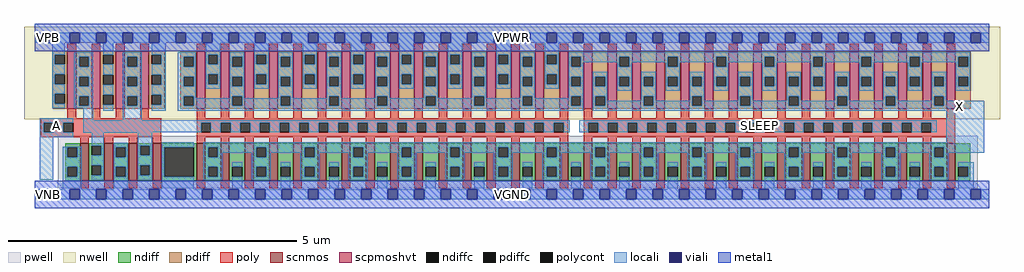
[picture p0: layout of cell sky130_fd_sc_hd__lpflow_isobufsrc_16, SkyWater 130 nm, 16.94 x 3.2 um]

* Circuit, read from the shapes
.subckt sky130_fd_sc_hd__lpflow_isobufsrc_16 A SLEEP VGND VNB VPB VPWR X
XM1 n1 A VGND VNB sky130_fd_pr__nfet_01v8 w=0.65 l=0.15 m=4
XM2 X n1 VGND VNB sky130_fd_pr__nfet_01v8 w=0.65 l=0.15 m=16
XM3 X SLEEP VGND VNB sky130_fd_pr__nfet_01v8 w=0.65 l=0.15 m=16
XM4 n1 A VPWR VPB sky130_fd_pr__pfet_01v8_hvt w=1 l=0.15 m=4
XM5 VPWR n1 n2 VPB sky130_fd_pr__pfet_01v8_hvt w=1 l=0.15 m=16
XM6 X SLEEP n2 VPB sky130_fd_pr__pfet_01v8_hvt w=1 l=0.15 m=16
.ends

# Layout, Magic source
magic
tech sky130B
magscale 1 2
<< nwell >>
rect -38 261 3350 582
<< pwell >>
rect 79 21 3273 203
rect 29 -17 63 17
<< scnmos >>
rect 157 47 187 177
rect 241 47 271 177
rect 325 47 355 177
rect 409 47 439 177
rect 561 47 591 177
rect 645 47 675 177
rect 729 47 759 177
rect 813 47 843 177
rect 897 47 927 177
rect 981 47 1011 177
rect 1065 47 1095 177
rect 1149 47 1179 177
rect 1233 47 1263 177
rect 1317 47 1347 177
rect 1401 47 1431 177
rect 1485 47 1515 177
rect 1569 47 1599 177
rect 1653 47 1683 177
rect 1737 47 1767 177
rect 1821 47 1851 177
rect 1905 47 1935 177
rect 1989 47 2019 177
rect 2073 47 2103 177
rect 2157 47 2187 177
rect 2241 47 2271 177
rect 2325 47 2355 177
rect 2409 47 2439 177
rect 2493 47 2523 177
rect 2577 47 2607 177
rect 2661 47 2691 177
rect 2745 47 2775 177
rect 2829 47 2859 177
rect 2913 47 2943 177
rect 2997 47 3027 177
rect 3081 47 3111 177
rect 3165 47 3195 177
<< scpmoshvt >>
rect 113 297 143 497
rect 197 297 227 497
rect 281 297 311 497
rect 365 297 395 497
rect 561 297 591 497
rect 645 297 675 497
rect 729 297 759 497
rect 813 297 843 497
rect 897 297 927 497
rect 981 297 1011 497
rect 1065 297 1095 497
rect 1149 297 1179 497
rect 1233 297 1263 497
rect 1317 297 1347 497
rect 1401 297 1431 497
rect 1485 297 1515 497
rect 1569 297 1599 497
rect 1653 297 1683 497
rect 1737 297 1767 497
rect 1821 297 1851 497
rect 1905 297 1935 497
rect 1989 297 2019 497
rect 2073 297 2103 497
rect 2157 297 2187 497
rect 2241 297 2271 497
rect 2325 297 2355 497
rect 2409 297 2439 497
rect 2493 297 2523 497
rect 2577 297 2607 497
rect 2661 297 2691 497
rect 2745 297 2775 497
rect 2829 297 2859 497
rect 2913 297 2943 497
rect 2997 297 3027 497
rect 3081 297 3111 497
rect 3165 297 3195 497
<< ndiff >>
rect 105 163 157 177
rect 105 129 113 163
rect 147 129 157 163
rect 105 95 157 129
rect 105 61 113 95
rect 147 61 157 95
rect 105 47 157 61
rect 187 169 241 177
rect 187 135 197 169
rect 231 135 241 169
rect 187 101 241 135
rect 187 67 197 101
rect 231 67 241 101
rect 187 47 241 67
rect 271 163 325 177
rect 271 129 281 163
rect 315 129 325 163
rect 271 95 325 129
rect 271 61 281 95
rect 315 61 325 95
rect 271 47 325 61
rect 355 169 409 177
rect 355 135 365 169
rect 399 135 409 169
rect 355 101 409 135
rect 355 67 365 101
rect 399 67 409 101
rect 355 47 409 67
rect 439 163 561 177
rect 439 61 449 163
rect 551 61 561 163
rect 439 47 561 61
rect 591 163 645 177
rect 591 129 601 163
rect 635 129 645 163
rect 591 95 645 129
rect 591 61 601 95
rect 635 61 645 95
rect 591 47 645 61
rect 675 95 729 177
rect 675 61 685 95
rect 719 61 729 95
rect 675 47 729 61
rect 759 163 813 177
rect 759 129 769 163
rect 803 129 813 163
rect 759 95 813 129
rect 759 61 769 95
rect 803 61 813 95
rect 759 47 813 61
rect 843 95 897 177
rect 843 61 853 95
rect 887 61 897 95
rect 843 47 897 61
rect 927 163 981 177
rect 927 129 937 163
rect 971 129 981 163
rect 927 95 981 129
rect 927 61 937 95
rect 971 61 981 95
rect 927 47 981 61
rect 1011 95 1065 177
rect 1011 61 1021 95
rect 1055 61 1065 95
rect 1011 47 1065 61
rect 1095 163 1149 177
rect 1095 129 1105 163
rect 1139 129 1149 163
rect 1095 95 1149 129
rect 1095 61 1105 95
rect 1139 61 1149 95
rect 1095 47 1149 61
rect 1179 95 1233 177
rect 1179 61 1189 95
rect 1223 61 1233 95
rect 1179 47 1233 61
rect 1263 163 1317 177
rect 1263 129 1273 163
rect 1307 129 1317 163
rect 1263 95 1317 129
rect 1263 61 1273 95
rect 1307 61 1317 95
rect 1263 47 1317 61
rect 1347 95 1401 177
rect 1347 61 1357 95
rect 1391 61 1401 95
rect 1347 47 1401 61
rect 1431 163 1485 177
rect 1431 129 1441 163
rect 1475 129 1485 163
rect 1431 95 1485 129
rect 1431 61 1441 95
rect 1475 61 1485 95
rect 1431 47 1485 61
rect 1515 95 1569 177
rect 1515 61 1525 95
rect 1559 61 1569 95
rect 1515 47 1569 61
rect 1599 163 1653 177
rect 1599 129 1609 163
rect 1643 129 1653 163
rect 1599 95 1653 129
rect 1599 61 1609 95
rect 1643 61 1653 95
rect 1599 47 1653 61
rect 1683 95 1737 177
rect 1683 61 1693 95
rect 1727 61 1737 95
rect 1683 47 1737 61
rect 1767 163 1821 177
rect 1767 129 1777 163
rect 1811 129 1821 163
rect 1767 95 1821 129
rect 1767 61 1777 95
rect 1811 61 1821 95
rect 1767 47 1821 61
rect 1851 95 1905 177
rect 1851 61 1861 95
rect 1895 61 1905 95
rect 1851 47 1905 61
rect 1935 163 1989 177
rect 1935 129 1945 163
rect 1979 129 1989 163
rect 1935 95 1989 129
rect 1935 61 1945 95
rect 1979 61 1989 95
rect 1935 47 1989 61
rect 2019 95 2073 177
rect 2019 61 2029 95
rect 2063 61 2073 95
rect 2019 47 2073 61
rect 2103 163 2157 177
rect 2103 129 2113 163
rect 2147 129 2157 163
rect 2103 95 2157 129
rect 2103 61 2113 95
rect 2147 61 2157 95
rect 2103 47 2157 61
rect 2187 95 2241 177
rect 2187 61 2197 95
rect 2231 61 2241 95
rect 2187 47 2241 61
rect 2271 163 2325 177
rect 2271 129 2281 163
rect 2315 129 2325 163
rect 2271 95 2325 129
rect 2271 61 2281 95
rect 2315 61 2325 95
rect 2271 47 2325 61
rect 2355 95 2409 177
rect 2355 61 2365 95
rect 2399 61 2409 95
rect 2355 47 2409 61
rect 2439 163 2493 177
rect 2439 129 2449 163
rect 2483 129 2493 163
rect 2439 95 2493 129
rect 2439 61 2449 95
rect 2483 61 2493 95
rect 2439 47 2493 61
rect 2523 95 2577 177
rect 2523 61 2533 95
rect 2567 61 2577 95
rect 2523 47 2577 61
rect 2607 163 2661 177
rect 2607 129 2617 163
rect 2651 129 2661 163
rect 2607 95 2661 129
rect 2607 61 2617 95
rect 2651 61 2661 95
rect 2607 47 2661 61
rect 2691 95 2745 177
rect 2691 61 2701 95
rect 2735 61 2745 95
rect 2691 47 2745 61
rect 2775 163 2829 177
rect 2775 129 2785 163
rect 2819 129 2829 163
rect 2775 95 2829 129
rect 2775 61 2785 95
rect 2819 61 2829 95
rect 2775 47 2829 61
rect 2859 95 2913 177
rect 2859 61 2869 95
rect 2903 61 2913 95
rect 2859 47 2913 61
rect 2943 163 2997 177
rect 2943 129 2953 163
rect 2987 129 2997 163
rect 2943 95 2997 129
rect 2943 61 2953 95
rect 2987 61 2997 95
rect 2943 47 2997 61
rect 3027 95 3081 177
rect 3027 61 3037 95
rect 3071 61 3081 95
rect 3027 47 3081 61
rect 3111 163 3165 177
rect 3111 129 3121 163
rect 3155 129 3165 163
rect 3111 95 3165 129
rect 3111 61 3121 95
rect 3155 61 3165 95
rect 3111 47 3165 61
rect 3195 95 3247 177
rect 3195 61 3205 95
rect 3239 61 3247 95
rect 3195 47 3247 61
<< pdiff >>
rect 61 485 113 497
rect 61 451 69 485
rect 103 451 113 485
rect 61 417 113 451
rect 61 383 69 417
rect 103 383 113 417
rect 61 349 113 383
rect 61 315 69 349
rect 103 315 113 349
rect 61 297 113 315
rect 143 477 197 497
rect 143 443 153 477
rect 187 443 197 477
rect 143 409 197 443
rect 143 375 153 409
rect 187 375 197 409
rect 143 341 197 375
rect 143 307 153 341
rect 187 307 197 341
rect 143 297 197 307
rect 227 485 281 497
rect 227 451 237 485
rect 271 451 281 485
rect 227 415 281 451
rect 227 381 237 415
rect 271 381 281 415
rect 227 345 281 381
rect 227 311 237 345
rect 271 311 281 345
rect 227 297 281 311
rect 311 477 365 497
rect 311 443 321 477
rect 355 443 365 477
rect 311 409 365 443
rect 311 375 321 409
rect 355 375 365 409
rect 311 341 365 375
rect 311 307 321 341
rect 355 307 365 341
rect 311 297 365 307
rect 395 485 451 497
rect 395 451 405 485
rect 439 451 451 485
rect 395 415 451 451
rect 395 381 405 415
rect 439 381 451 415
rect 395 345 451 381
rect 395 311 405 345
rect 439 311 451 345
rect 395 297 451 311
rect 505 477 561 497
rect 505 443 517 477
rect 551 443 561 477
rect 505 409 561 443
rect 505 375 517 409
rect 551 375 561 409
rect 505 341 561 375
rect 505 307 517 341
rect 551 307 561 341
rect 505 297 561 307
rect 591 485 645 497
rect 591 451 601 485
rect 635 451 645 485
rect 591 417 645 451
rect 591 383 601 417
rect 635 383 645 417
rect 591 297 645 383
rect 675 477 729 497
rect 675 443 685 477
rect 719 443 729 477
rect 675 409 729 443
rect 675 375 685 409
rect 719 375 729 409
rect 675 341 729 375
rect 675 307 685 341
rect 719 307 729 341
rect 675 297 729 307
rect 759 485 813 497
rect 759 451 769 485
rect 803 451 813 485
rect 759 417 813 451
rect 759 383 769 417
rect 803 383 813 417
rect 759 297 813 383
rect 843 477 897 497
rect 843 443 853 477
rect 887 443 897 477
rect 843 409 897 443
rect 843 375 853 409
rect 887 375 897 409
rect 843 341 897 375
rect 843 307 853 341
rect 887 307 897 341
rect 843 297 897 307
rect 927 485 981 497
rect 927 451 937 485
rect 971 451 981 485
rect 927 417 981 451
rect 927 383 937 417
rect 971 383 981 417
rect 927 297 981 383
rect 1011 477 1065 497
rect 1011 443 1021 477
rect 1055 443 1065 477
rect 1011 409 1065 443
rect 1011 375 1021 409
rect 1055 375 1065 409
rect 1011 341 1065 375
rect 1011 307 1021 341
rect 1055 307 1065 341
rect 1011 297 1065 307
rect 1095 485 1149 497
rect 1095 451 1105 485
rect 1139 451 1149 485
rect 1095 417 1149 451
rect 1095 383 1105 417
rect 1139 383 1149 417
rect 1095 297 1149 383
rect 1179 477 1233 497
rect 1179 443 1189 477
rect 1223 443 1233 477
rect 1179 409 1233 443
rect 1179 375 1189 409
rect 1223 375 1233 409
rect 1179 341 1233 375
rect 1179 307 1189 341
rect 1223 307 1233 341
rect 1179 297 1233 307
rect 1263 485 1317 497
rect 1263 451 1273 485
rect 1307 451 1317 485
rect 1263 417 1317 451
rect 1263 383 1273 417
rect 1307 383 1317 417
rect 1263 297 1317 383
rect 1347 477 1401 497
rect 1347 443 1357 477
rect 1391 443 1401 477
rect 1347 409 1401 443
rect 1347 375 1357 409
rect 1391 375 1401 409
rect 1347 341 1401 375
rect 1347 307 1357 341
rect 1391 307 1401 341
rect 1347 297 1401 307
rect 1431 485 1485 497
rect 1431 451 1441 485
rect 1475 451 1485 485
rect 1431 417 1485 451
rect 1431 383 1441 417
rect 1475 383 1485 417
rect 1431 297 1485 383
rect 1515 477 1569 497
rect 1515 443 1525 477
rect 1559 443 1569 477
rect 1515 409 1569 443
rect 1515 375 1525 409
rect 1559 375 1569 409
rect 1515 341 1569 375
rect 1515 307 1525 341
rect 1559 307 1569 341
rect 1515 297 1569 307
rect 1599 485 1653 497
rect 1599 451 1609 485
rect 1643 451 1653 485
rect 1599 417 1653 451
rect 1599 383 1609 417
rect 1643 383 1653 417
rect 1599 297 1653 383
rect 1683 477 1737 497
rect 1683 443 1693 477
rect 1727 443 1737 477
rect 1683 409 1737 443
rect 1683 375 1693 409
rect 1727 375 1737 409
rect 1683 341 1737 375
rect 1683 307 1693 341
rect 1727 307 1737 341
rect 1683 297 1737 307
rect 1767 485 1821 497
rect 1767 451 1777 485
rect 1811 451 1821 485
rect 1767 417 1821 451
rect 1767 383 1777 417
rect 1811 383 1821 417
rect 1767 297 1821 383
rect 1851 477 1905 497
rect 1851 443 1861 477
rect 1895 443 1905 477
rect 1851 409 1905 443
rect 1851 375 1861 409
rect 1895 375 1905 409
rect 1851 341 1905 375
rect 1851 307 1861 341
rect 1895 307 1905 341
rect 1851 297 1905 307
rect 1935 409 1989 497
rect 1935 375 1945 409
rect 1979 375 1989 409
rect 1935 341 1989 375
rect 1935 307 1945 341
rect 1979 307 1989 341
rect 1935 297 1989 307
rect 2019 477 2073 497
rect 2019 443 2029 477
rect 2063 443 2073 477
rect 2019 409 2073 443
rect 2019 375 2029 409
rect 2063 375 2073 409
rect 2019 297 2073 375
rect 2103 409 2157 497
rect 2103 375 2113 409
rect 2147 375 2157 409
rect 2103 341 2157 375
rect 2103 307 2113 341
rect 2147 307 2157 341
rect 2103 297 2157 307
rect 2187 477 2241 497
rect 2187 443 2197 477
rect 2231 443 2241 477
rect 2187 409 2241 443
rect 2187 375 2197 409
rect 2231 375 2241 409
rect 2187 297 2241 375
rect 2271 409 2325 497
rect 2271 375 2281 409
rect 2315 375 2325 409
rect 2271 341 2325 375
rect 2271 307 2281 341
rect 2315 307 2325 341
rect 2271 297 2325 307
rect 2355 477 2409 497
rect 2355 443 2365 477
rect 2399 443 2409 477
rect 2355 409 2409 443
rect 2355 375 2365 409
rect 2399 375 2409 409
rect 2355 297 2409 375
rect 2439 409 2493 497
rect 2439 375 2449 409
rect 2483 375 2493 409
rect 2439 341 2493 375
rect 2439 307 2449 341
rect 2483 307 2493 341
rect 2439 297 2493 307
rect 2523 477 2577 497
rect 2523 443 2533 477
rect 2567 443 2577 477
rect 2523 409 2577 443
rect 2523 375 2533 409
rect 2567 375 2577 409
rect 2523 297 2577 375
rect 2607 409 2661 497
rect 2607 375 2617 409
rect 2651 375 2661 409
rect 2607 341 2661 375
rect 2607 307 2617 341
rect 2651 307 2661 341
rect 2607 297 2661 307
rect 2691 477 2745 497
rect 2691 443 2701 477
rect 2735 443 2745 477
rect 2691 409 2745 443
rect 2691 375 2701 409
rect 2735 375 2745 409
rect 2691 297 2745 375
rect 2775 409 2829 497
rect 2775 375 2785 409
rect 2819 375 2829 409
rect 2775 341 2829 375
rect 2775 307 2785 341
rect 2819 307 2829 341
rect 2775 297 2829 307
rect 2859 477 2913 497
rect 2859 443 2869 477
rect 2903 443 2913 477
rect 2859 409 2913 443
rect 2859 375 2869 409
rect 2903 375 2913 409
rect 2859 297 2913 375
rect 2943 409 2997 497
rect 2943 375 2953 409
rect 2987 375 2997 409
rect 2943 341 2997 375
rect 2943 307 2953 341
rect 2987 307 2997 341
rect 2943 297 2997 307
rect 3027 477 3081 497
rect 3027 443 3037 477
rect 3071 443 3081 477
rect 3027 409 3081 443
rect 3027 375 3037 409
rect 3071 375 3081 409
rect 3027 297 3081 375
rect 3111 409 3165 497
rect 3111 375 3121 409
rect 3155 375 3165 409
rect 3111 341 3165 375
rect 3111 307 3121 341
rect 3155 307 3165 341
rect 3111 297 3165 307
rect 3195 477 3249 497
rect 3195 443 3205 477
rect 3239 443 3249 477
rect 3195 409 3249 443
rect 3195 375 3205 409
rect 3239 375 3249 409
rect 3195 297 3249 375
<< ndiffc >>
rect 113 129 147 163
rect 113 61 147 95
rect 197 135 231 169
rect 197 67 231 101
rect 281 129 315 163
rect 281 61 315 95
rect 365 135 399 169
rect 365 67 399 101
rect 449 61 551 163
rect 601 129 635 163
rect 601 61 635 95
rect 685 61 719 95
rect 769 129 803 163
rect 769 61 803 95
rect 853 61 887 95
rect 937 129 971 163
rect 937 61 971 95
rect 1021 61 1055 95
rect 1105 129 1139 163
rect 1105 61 1139 95
rect 1189 61 1223 95
rect 1273 129 1307 163
rect 1273 61 1307 95
rect 1357 61 1391 95
rect 1441 129 1475 163
rect 1441 61 1475 95
rect 1525 61 1559 95
rect 1609 129 1643 163
rect 1609 61 1643 95
rect 1693 61 1727 95
rect 1777 129 1811 163
rect 1777 61 1811 95
rect 1861 61 1895 95
rect 1945 129 1979 163
rect 1945 61 1979 95
rect 2029 61 2063 95
rect 2113 129 2147 163
rect 2113 61 2147 95
rect 2197 61 2231 95
rect 2281 129 2315 163
rect 2281 61 2315 95
rect 2365 61 2399 95
rect 2449 129 2483 163
rect 2449 61 2483 95
rect 2533 61 2567 95
rect 2617 129 2651 163
rect 2617 61 2651 95
rect 2701 61 2735 95
rect 2785 129 2819 163
rect 2785 61 2819 95
rect 2869 61 2903 95
rect 2953 129 2987 163
rect 2953 61 2987 95
rect 3037 61 3071 95
rect 3121 129 3155 163
rect 3121 61 3155 95
rect 3205 61 3239 95
<< pdiffc >>
rect 69 451 103 485
rect 69 383 103 417
rect 69 315 103 349
rect 153 443 187 477
rect 153 375 187 409
rect 153 307 187 341
rect 237 451 271 485
rect 237 381 271 415
rect 237 311 271 345
rect 321 443 355 477
rect 321 375 355 409
rect 321 307 355 341
rect 405 451 439 485
rect 405 381 439 415
rect 405 311 439 345
rect 517 443 551 477
rect 517 375 551 409
rect 517 307 551 341
rect 601 451 635 485
rect 601 383 635 417
rect 685 443 719 477
rect 685 375 719 409
rect 685 307 719 341
rect 769 451 803 485
rect 769 383 803 417
rect 853 443 887 477
rect 853 375 887 409
rect 853 307 887 341
rect 937 451 971 485
rect 937 383 971 417
rect 1021 443 1055 477
rect 1021 375 1055 409
rect 1021 307 1055 341
rect 1105 451 1139 485
rect 1105 383 1139 417
rect 1189 443 1223 477
rect 1189 375 1223 409
rect 1189 307 1223 341
rect 1273 451 1307 485
rect 1273 383 1307 417
rect 1357 443 1391 477
rect 1357 375 1391 409
rect 1357 307 1391 341
rect 1441 451 1475 485
rect 1441 383 1475 417
rect 1525 443 1559 477
rect 1525 375 1559 409
rect 1525 307 1559 341
rect 1609 451 1643 485
rect 1609 383 1643 417
rect 1693 443 1727 477
rect 1693 375 1727 409
rect 1693 307 1727 341
rect 1777 451 1811 485
rect 1777 383 1811 417
rect 1861 443 1895 477
rect 1861 375 1895 409
rect 1861 307 1895 341
rect 1945 375 1979 409
rect 1945 307 1979 341
rect 2029 443 2063 477
rect 2029 375 2063 409
rect 2113 375 2147 409
rect 2113 307 2147 341
rect 2197 443 2231 477
rect 2197 375 2231 409
rect 2281 375 2315 409
rect 2281 307 2315 341
rect 2365 443 2399 477
rect 2365 375 2399 409
rect 2449 375 2483 409
rect 2449 307 2483 341
rect 2533 443 2567 477
rect 2533 375 2567 409
rect 2617 375 2651 409
rect 2617 307 2651 341
rect 2701 443 2735 477
rect 2701 375 2735 409
rect 2785 375 2819 409
rect 2785 307 2819 341
rect 2869 443 2903 477
rect 2869 375 2903 409
rect 2953 375 2987 409
rect 2953 307 2987 341
rect 3037 443 3071 477
rect 3037 375 3071 409
rect 3121 375 3155 409
rect 3121 307 3155 341
rect 3205 443 3239 477
rect 3205 375 3239 409
<< poly >>
rect 113 497 143 523
rect 197 497 227 523
rect 281 497 311 523
rect 365 497 395 523
rect 561 497 591 523
rect 645 497 675 523
rect 729 497 759 523
rect 813 497 843 523
rect 897 497 927 523
rect 981 497 1011 523
rect 1065 497 1095 523
rect 1149 497 1179 523
rect 1233 497 1263 523
rect 1317 497 1347 523
rect 1401 497 1431 523
rect 1485 497 1515 523
rect 1569 497 1599 523
rect 1653 497 1683 523
rect 1737 497 1767 523
rect 1821 497 1851 523
rect 1905 497 1935 523
rect 1989 497 2019 523
rect 2073 497 2103 523
rect 2157 497 2187 523
rect 2241 497 2271 523
rect 2325 497 2355 523
rect 2409 497 2439 523
rect 2493 497 2523 523
rect 2577 497 2607 523
rect 2661 497 2691 523
rect 2745 497 2775 523
rect 2829 497 2859 523
rect 2913 497 2943 523
rect 2997 497 3027 523
rect 3081 497 3111 523
rect 3165 497 3195 523
rect 113 265 143 297
rect 197 265 227 297
rect 281 265 311 297
rect 365 265 395 297
rect 561 265 591 297
rect 645 265 675 297
rect 729 265 759 297
rect 813 265 843 297
rect 897 265 927 297
rect 981 265 1011 297
rect 1065 265 1095 297
rect 1149 265 1179 297
rect 1233 265 1263 297
rect 1317 265 1347 297
rect 1401 265 1431 297
rect 1485 265 1515 297
rect 1569 265 1599 297
rect 1653 265 1683 297
rect 1737 265 1767 297
rect 1821 265 1851 297
rect 21 249 439 265
rect 21 215 31 249
rect 65 215 99 249
rect 133 215 439 249
rect 21 199 439 215
rect 157 177 187 199
rect 241 177 271 199
rect 325 177 355 199
rect 409 177 439 199
rect 561 249 1851 265
rect 561 215 577 249
rect 611 215 645 249
rect 679 215 713 249
rect 747 215 781 249
rect 815 215 849 249
rect 883 215 917 249
rect 951 215 985 249
rect 1019 215 1053 249
rect 1087 215 1121 249
rect 1155 215 1189 249
rect 1223 215 1257 249
rect 1291 215 1325 249
rect 1359 215 1393 249
rect 1427 215 1461 249
rect 1495 215 1529 249
rect 1563 215 1597 249
rect 1631 215 1665 249
rect 1699 215 1733 249
rect 1767 215 1801 249
rect 1835 215 1851 249
rect 561 199 1851 215
rect 561 177 591 199
rect 645 177 675 199
rect 729 177 759 199
rect 813 177 843 199
rect 897 177 927 199
rect 981 177 1011 199
rect 1065 177 1095 199
rect 1149 177 1179 199
rect 1233 177 1263 199
rect 1317 177 1347 199
rect 1401 177 1431 199
rect 1485 177 1515 199
rect 1569 177 1599 199
rect 1653 177 1683 199
rect 1737 177 1767 199
rect 1821 177 1851 199
rect 1905 265 1935 297
rect 1989 265 2019 297
rect 2073 265 2103 297
rect 2157 265 2187 297
rect 2241 265 2271 297
rect 2325 265 2355 297
rect 2409 265 2439 297
rect 2493 265 2523 297
rect 2577 265 2607 297
rect 2661 265 2691 297
rect 2745 265 2775 297
rect 2829 265 2859 297
rect 2913 265 2943 297
rect 2997 265 3027 297
rect 3081 265 3111 297
rect 3165 265 3195 297
rect 1905 249 3195 265
rect 1905 215 1921 249
rect 1955 215 1989 249
rect 2023 215 2057 249
rect 2091 215 2125 249
rect 2159 215 2193 249
rect 2227 215 2261 249
rect 2295 215 2329 249
rect 2363 215 2397 249
rect 2431 215 2465 249
rect 2499 215 2533 249
rect 2567 215 2601 249
rect 2635 215 2669 249
rect 2703 215 2737 249
rect 2771 215 2805 249
rect 2839 215 2873 249
rect 2907 215 2941 249
rect 2975 215 3009 249
rect 3043 215 3077 249
rect 3111 215 3195 249
rect 1905 199 3195 215
rect 1905 177 1935 199
rect 1989 177 2019 199
rect 2073 177 2103 199
rect 2157 177 2187 199
rect 2241 177 2271 199
rect 2325 177 2355 199
rect 2409 177 2439 199
rect 2493 177 2523 199
rect 2577 177 2607 199
rect 2661 177 2691 199
rect 2745 177 2775 199
rect 2829 177 2859 199
rect 2913 177 2943 199
rect 2997 177 3027 199
rect 3081 177 3111 199
rect 3165 177 3195 199
rect 157 21 187 47
rect 241 21 271 47
rect 325 21 355 47
rect 409 21 439 47
rect 561 21 591 47
rect 645 21 675 47
rect 729 21 759 47
rect 813 21 843 47
rect 897 21 927 47
rect 981 21 1011 47
rect 1065 21 1095 47
rect 1149 21 1179 47
rect 1233 21 1263 47
rect 1317 21 1347 47
rect 1401 21 1431 47
rect 1485 21 1515 47
rect 1569 21 1599 47
rect 1653 21 1683 47
rect 1737 21 1767 47
rect 1821 21 1851 47
rect 1905 21 1935 47
rect 1989 21 2019 47
rect 2073 21 2103 47
rect 2157 21 2187 47
rect 2241 21 2271 47
rect 2325 21 2355 47
rect 2409 21 2439 47
rect 2493 21 2523 47
rect 2577 21 2607 47
rect 2661 21 2691 47
rect 2745 21 2775 47
rect 2829 21 2859 47
rect 2913 21 2943 47
rect 2997 21 3027 47
rect 3081 21 3111 47
rect 3165 21 3195 47
<< polycont >>
rect 31 215 65 249
rect 99 215 133 249
rect 577 215 611 249
rect 645 215 679 249
rect 713 215 747 249
rect 781 215 815 249
rect 849 215 883 249
rect 917 215 951 249
rect 985 215 1019 249
rect 1053 215 1087 249
rect 1121 215 1155 249
rect 1189 215 1223 249
rect 1257 215 1291 249
rect 1325 215 1359 249
rect 1393 215 1427 249
rect 1461 215 1495 249
rect 1529 215 1563 249
rect 1597 215 1631 249
rect 1665 215 1699 249
rect 1733 215 1767 249
rect 1801 215 1835 249
rect 1921 215 1955 249
rect 1989 215 2023 249
rect 2057 215 2091 249
rect 2125 215 2159 249
rect 2193 215 2227 249
rect 2261 215 2295 249
rect 2329 215 2363 249
rect 2397 215 2431 249
rect 2465 215 2499 249
rect 2533 215 2567 249
rect 2601 215 2635 249
rect 2669 215 2703 249
rect 2737 215 2771 249
rect 2805 215 2839 249
rect 2873 215 2907 249
rect 2941 215 2975 249
rect 3009 215 3043 249
rect 3077 215 3111 249
<< locali >>
rect 0 527 29 561
rect 63 527 121 561
rect 155 527 213 561
rect 247 527 305 561
rect 339 527 397 561
rect 431 527 489 561
rect 523 527 581 561
rect 615 527 673 561
rect 707 527 765 561
rect 799 527 857 561
rect 891 527 949 561
rect 983 527 1041 561
rect 1075 527 1133 561
rect 1167 527 1225 561
rect 1259 527 1317 561
rect 1351 527 1409 561
rect 1443 527 1501 561
rect 1535 527 1593 561
rect 1627 527 1685 561
rect 1719 527 1777 561
rect 1811 527 1869 561
rect 1903 527 1961 561
rect 1995 527 2053 561
rect 2087 527 2145 561
rect 2179 527 2237 561
rect 2271 527 2329 561
rect 2363 527 2421 561
rect 2455 527 2513 561
rect 2547 527 2605 561
rect 2639 527 2697 561
rect 2731 527 2789 561
rect 2823 527 2881 561
rect 2915 527 2973 561
rect 3007 527 3065 561
rect 3099 527 3157 561
rect 3191 527 3249 561
rect 3283 527 3312 561
rect 60 485 103 527
rect 60 451 69 485
rect 60 417 103 451
rect 60 383 69 417
rect 60 349 103 383
rect 60 315 69 349
rect 60 299 103 315
rect 137 477 203 493
rect 137 443 153 477
rect 187 443 203 477
rect 137 409 203 443
rect 137 375 153 409
rect 187 375 203 409
rect 137 341 203 375
rect 137 307 153 341
rect 187 307 203 341
rect 137 299 203 307
rect 17 249 133 265
rect 17 215 31 249
rect 65 215 99 249
rect 17 199 133 215
rect 167 257 203 299
rect 237 485 271 527
rect 237 415 271 451
rect 237 345 271 381
rect 237 291 271 311
rect 305 477 371 493
rect 305 443 321 477
rect 355 443 371 477
rect 305 409 371 443
rect 305 375 321 409
rect 355 375 371 409
rect 305 341 371 375
rect 305 307 321 341
rect 355 307 371 341
rect 305 257 371 307
rect 405 485 454 527
rect 439 451 454 485
rect 405 415 454 451
rect 439 381 454 415
rect 405 345 454 381
rect 439 311 454 345
rect 405 291 454 311
rect 495 477 559 493
rect 495 443 517 477
rect 551 443 559 477
rect 495 409 559 443
rect 495 375 517 409
rect 551 375 559 409
rect 495 341 559 375
rect 593 485 643 527
rect 593 451 601 485
rect 635 451 643 485
rect 593 417 643 451
rect 593 383 601 417
rect 635 383 643 417
rect 593 367 643 383
rect 677 477 727 493
rect 677 443 685 477
rect 719 443 727 477
rect 677 409 727 443
rect 677 375 685 409
rect 719 375 727 409
rect 495 307 517 341
rect 551 333 559 341
rect 677 341 727 375
rect 761 485 811 527
rect 761 451 769 485
rect 803 451 811 485
rect 761 417 811 451
rect 761 383 769 417
rect 803 383 811 417
rect 761 367 811 383
rect 845 477 895 493
rect 845 443 853 477
rect 887 443 895 477
rect 845 409 895 443
rect 845 375 853 409
rect 887 375 895 409
rect 677 333 685 341
rect 551 307 685 333
rect 719 333 727 341
rect 845 341 895 375
rect 929 485 979 527
rect 929 451 937 485
rect 971 451 979 485
rect 929 417 979 451
rect 929 383 937 417
rect 971 383 979 417
rect 929 367 979 383
rect 1013 477 1063 493
rect 1013 443 1021 477
rect 1055 443 1063 477
rect 1013 409 1063 443
rect 1013 375 1021 409
rect 1055 375 1063 409
rect 845 333 853 341
rect 719 307 853 333
rect 887 333 895 341
rect 1013 341 1063 375
rect 1097 485 1147 527
rect 1097 451 1105 485
rect 1139 451 1147 485
rect 1097 417 1147 451
rect 1097 383 1105 417
rect 1139 383 1147 417
rect 1097 367 1147 383
rect 1181 477 1231 493
rect 1181 443 1189 477
rect 1223 443 1231 477
rect 1181 409 1231 443
rect 1181 375 1189 409
rect 1223 375 1231 409
rect 1013 333 1021 341
rect 887 307 1021 333
rect 1055 333 1063 341
rect 1181 341 1231 375
rect 1265 485 1315 527
rect 1265 451 1273 485
rect 1307 451 1315 485
rect 1265 417 1315 451
rect 1265 383 1273 417
rect 1307 383 1315 417
rect 1265 367 1315 383
rect 1349 477 1399 493
rect 1349 443 1357 477
rect 1391 443 1399 477
rect 1349 409 1399 443
rect 1349 375 1357 409
rect 1391 375 1399 409
rect 1181 333 1189 341
rect 1055 307 1189 333
rect 1223 333 1231 341
rect 1349 341 1399 375
rect 1433 485 1483 527
rect 1433 451 1441 485
rect 1475 451 1483 485
rect 1433 417 1483 451
rect 1433 383 1441 417
rect 1475 383 1483 417
rect 1433 367 1483 383
rect 1517 477 1567 493
rect 1517 443 1525 477
rect 1559 443 1567 477
rect 1517 409 1567 443
rect 1517 375 1525 409
rect 1559 375 1567 409
rect 1349 333 1357 341
rect 1223 307 1357 333
rect 1391 333 1399 341
rect 1517 341 1567 375
rect 1601 485 1651 527
rect 1601 451 1609 485
rect 1643 451 1651 485
rect 1601 417 1651 451
rect 1601 383 1609 417
rect 1643 383 1651 417
rect 1601 367 1651 383
rect 1685 477 1735 493
rect 1685 443 1693 477
rect 1727 443 1735 477
rect 1685 409 1735 443
rect 1685 375 1693 409
rect 1727 375 1735 409
rect 1517 333 1525 341
rect 1391 307 1525 333
rect 1559 333 1567 341
rect 1685 341 1735 375
rect 1769 485 1819 527
rect 1769 451 1777 485
rect 1811 451 1819 485
rect 1769 417 1819 451
rect 1769 383 1777 417
rect 1811 383 1819 417
rect 1769 367 1819 383
rect 1853 477 3247 493
rect 1853 443 1861 477
rect 1895 459 2029 477
rect 1895 443 1903 459
rect 1853 409 1903 443
rect 2021 443 2029 459
rect 2063 459 2197 477
rect 2063 443 2071 459
rect 1853 375 1861 409
rect 1895 375 1903 409
rect 1685 333 1693 341
rect 1559 307 1693 333
rect 1727 333 1735 341
rect 1853 341 1903 375
rect 1853 333 1861 341
rect 1727 307 1861 333
rect 1895 307 1903 341
rect 495 291 1903 307
rect 1937 409 1987 425
rect 1937 375 1945 409
rect 1979 375 1987 409
rect 1937 341 1987 375
rect 2021 409 2071 443
rect 2189 443 2197 459
rect 2231 459 2365 477
rect 2231 443 2239 459
rect 2021 375 2029 409
rect 2063 375 2071 409
rect 2021 359 2071 375
rect 2105 409 2155 425
rect 2105 375 2113 409
rect 2147 375 2155 409
rect 1937 307 1945 341
rect 1979 325 1987 341
rect 2105 341 2155 375
rect 2189 409 2239 443
rect 2357 443 2365 459
rect 2399 459 2533 477
rect 2399 443 2407 459
rect 2189 375 2197 409
rect 2231 375 2239 409
rect 2189 359 2239 375
rect 2273 409 2323 425
rect 2273 375 2281 409
rect 2315 375 2323 409
rect 2105 325 2113 341
rect 1979 307 2113 325
rect 2147 325 2155 341
rect 2273 341 2323 375
rect 2357 409 2407 443
rect 2525 443 2533 459
rect 2567 459 2701 477
rect 2567 443 2575 459
rect 2357 375 2365 409
rect 2399 375 2407 409
rect 2357 359 2407 375
rect 2441 409 2491 425
rect 2441 375 2449 409
rect 2483 375 2491 409
rect 2273 325 2281 341
rect 2147 307 2281 325
rect 2315 325 2323 341
rect 2441 341 2491 375
rect 2525 409 2575 443
rect 2693 443 2701 459
rect 2735 459 2869 477
rect 2735 443 2743 459
rect 2525 375 2533 409
rect 2567 375 2575 409
rect 2525 359 2575 375
rect 2609 409 2659 425
rect 2609 375 2617 409
rect 2651 375 2659 409
rect 2441 325 2449 341
rect 2315 307 2449 325
rect 2483 325 2491 341
rect 2609 341 2659 375
rect 2693 409 2743 443
rect 2861 443 2869 459
rect 2903 459 3037 477
rect 2903 443 2911 459
rect 2693 375 2701 409
rect 2735 375 2743 409
rect 2693 359 2743 375
rect 2777 409 2827 425
rect 2777 375 2785 409
rect 2819 375 2827 409
rect 2609 325 2617 341
rect 2483 307 2617 325
rect 2651 325 2659 341
rect 2777 341 2827 375
rect 2861 409 2911 443
rect 3029 443 3037 459
rect 3071 459 3205 477
rect 3071 443 3079 459
rect 2861 375 2869 409
rect 2903 375 2911 409
rect 2861 359 2911 375
rect 2945 409 2995 425
rect 2945 375 2953 409
rect 2987 375 2995 409
rect 2777 325 2785 341
rect 2651 307 2785 325
rect 2819 325 2827 341
rect 2945 341 2995 375
rect 3029 409 3079 443
rect 3197 443 3205 459
rect 3239 443 3247 477
rect 3029 375 3037 409
rect 3071 375 3079 409
rect 3029 359 3079 375
rect 3113 409 3163 425
rect 3113 375 3121 409
rect 3155 375 3163 409
rect 2945 325 2953 341
rect 2819 307 2953 325
rect 2987 325 2995 341
rect 3113 341 3163 375
rect 3197 409 3247 443
rect 3197 375 3205 409
rect 3239 375 3247 409
rect 3197 359 3247 375
rect 3113 325 3121 341
rect 2987 307 3121 325
rect 3155 325 3163 341
rect 3155 307 3295 325
rect 1937 291 3295 307
rect 167 249 1856 257
rect 167 215 577 249
rect 611 215 645 249
rect 679 215 713 249
rect 747 215 781 249
rect 815 215 849 249
rect 883 215 917 249
rect 951 215 985 249
rect 1019 215 1053 249
rect 1087 215 1121 249
rect 1155 215 1189 249
rect 1223 215 1257 249
rect 1291 215 1325 249
rect 1359 215 1393 249
rect 1427 215 1461 249
rect 1495 215 1529 249
rect 1563 215 1597 249
rect 1631 215 1665 249
rect 1699 215 1733 249
rect 1767 215 1801 249
rect 1835 215 1856 249
rect 1890 249 3130 257
rect 1890 215 1921 249
rect 1955 215 1989 249
rect 2023 215 2057 249
rect 2091 215 2125 249
rect 2159 215 2193 249
rect 2227 215 2261 249
rect 2295 215 2329 249
rect 2363 215 2397 249
rect 2431 215 2465 249
rect 2499 215 2533 249
rect 2567 215 2601 249
rect 2635 215 2669 249
rect 2703 215 2737 249
rect 2771 215 2805 249
rect 2839 215 2873 249
rect 2907 215 2941 249
rect 2975 215 3009 249
rect 3043 215 3077 249
rect 3111 215 3130 249
rect 167 213 407 215
rect 17 51 63 199
rect 197 169 239 213
rect 97 163 163 165
rect 97 129 113 163
rect 147 129 163 163
rect 97 95 163 129
rect 97 61 113 95
rect 147 61 163 95
rect 97 17 163 61
rect 231 135 239 169
rect 197 101 239 135
rect 231 67 239 101
rect 197 51 239 67
rect 273 163 323 179
rect 273 129 281 163
rect 315 129 323 163
rect 273 95 323 129
rect 273 61 281 95
rect 315 61 323 95
rect 273 17 323 61
rect 357 169 407 213
rect 3164 181 3295 291
rect 357 135 365 169
rect 399 135 407 169
rect 357 101 407 135
rect 357 67 365 101
rect 399 67 407 101
rect 357 51 407 67
rect 441 163 551 181
rect 441 61 449 163
rect 441 17 551 61
rect 585 163 3295 181
rect 585 129 601 163
rect 635 145 769 163
rect 635 129 651 145
rect 585 95 651 129
rect 753 129 769 145
rect 803 145 937 163
rect 803 129 819 145
rect 585 61 601 95
rect 635 61 651 95
rect 585 51 651 61
rect 685 95 719 111
rect 685 17 719 61
rect 753 95 819 129
rect 921 129 937 145
rect 971 145 1105 163
rect 971 129 987 145
rect 753 61 769 95
rect 803 61 819 95
rect 753 51 819 61
rect 853 95 887 111
rect 853 17 887 61
rect 921 95 987 129
rect 1089 129 1105 145
rect 1139 145 1273 163
rect 1139 129 1155 145
rect 921 61 937 95
rect 971 61 987 95
rect 921 51 987 61
rect 1021 95 1055 111
rect 1021 17 1055 61
rect 1089 95 1155 129
rect 1257 129 1273 145
rect 1307 145 1441 163
rect 1307 129 1323 145
rect 1089 61 1105 95
rect 1139 61 1155 95
rect 1089 51 1155 61
rect 1189 95 1223 111
rect 1189 17 1223 61
rect 1257 95 1323 129
rect 1425 129 1441 145
rect 1475 145 1609 163
rect 1475 129 1491 145
rect 1257 61 1273 95
rect 1307 61 1323 95
rect 1257 51 1323 61
rect 1357 95 1391 111
rect 1357 17 1391 61
rect 1425 95 1491 129
rect 1593 129 1609 145
rect 1643 145 1777 163
rect 1643 129 1659 145
rect 1425 61 1441 95
rect 1475 61 1491 95
rect 1425 51 1491 61
rect 1525 95 1559 111
rect 1525 17 1559 61
rect 1593 95 1659 129
rect 1761 129 1777 145
rect 1811 145 1945 163
rect 1811 129 1827 145
rect 1593 61 1609 95
rect 1643 61 1659 95
rect 1593 51 1659 61
rect 1693 95 1727 111
rect 1693 17 1727 61
rect 1761 95 1827 129
rect 1929 129 1945 145
rect 1979 145 2113 163
rect 1979 129 1995 145
rect 1761 61 1777 95
rect 1811 61 1827 95
rect 1761 51 1827 61
rect 1861 95 1895 111
rect 1861 17 1895 61
rect 1929 95 1995 129
rect 2097 129 2113 145
rect 2147 145 2281 163
rect 2147 129 2163 145
rect 1929 61 1945 95
rect 1979 61 1995 95
rect 1929 51 1995 61
rect 2029 95 2063 111
rect 2029 17 2063 61
rect 2097 95 2163 129
rect 2265 129 2281 145
rect 2315 145 2449 163
rect 2315 129 2331 145
rect 2097 61 2113 95
rect 2147 61 2163 95
rect 2097 51 2163 61
rect 2197 95 2231 111
rect 2197 17 2231 61
rect 2265 95 2331 129
rect 2433 129 2449 145
rect 2483 145 2617 163
rect 2483 129 2499 145
rect 2265 61 2281 95
rect 2315 61 2331 95
rect 2265 51 2331 61
rect 2365 95 2399 111
rect 2365 17 2399 61
rect 2433 95 2499 129
rect 2601 129 2617 145
rect 2651 145 2785 163
rect 2651 129 2667 145
rect 2433 61 2449 95
rect 2483 61 2499 95
rect 2433 51 2499 61
rect 2533 95 2567 111
rect 2533 17 2567 61
rect 2601 95 2667 129
rect 2769 129 2785 145
rect 2819 145 2953 163
rect 2819 129 2835 145
rect 2601 61 2617 95
rect 2651 61 2667 95
rect 2601 51 2667 61
rect 2701 95 2735 111
rect 2701 17 2735 61
rect 2769 95 2835 129
rect 2937 129 2953 145
rect 2987 145 3121 163
rect 2987 129 3003 145
rect 2769 61 2785 95
rect 2819 61 2835 95
rect 2769 51 2835 61
rect 2869 95 2903 111
rect 2869 17 2903 61
rect 2937 95 3003 129
rect 3105 129 3121 145
rect 3155 145 3295 163
rect 3155 129 3171 145
rect 2937 61 2953 95
rect 2987 61 3003 95
rect 2937 51 3003 61
rect 3037 95 3071 111
rect 3037 17 3071 61
rect 3105 95 3171 129
rect 3105 61 3121 95
rect 3155 61 3171 95
rect 3105 51 3171 61
rect 3205 95 3259 111
rect 3239 61 3259 95
rect 3205 17 3259 61
rect 0 -17 29 17
rect 63 -17 121 17
rect 155 -17 213 17
rect 247 -17 305 17
rect 339 -17 397 17
rect 431 -17 489 17
rect 523 -17 581 17
rect 615 -17 673 17
rect 707 -17 765 17
rect 799 -17 857 17
rect 891 -17 949 17
rect 983 -17 1041 17
rect 1075 -17 1133 17
rect 1167 -17 1225 17
rect 1259 -17 1317 17
rect 1351 -17 1409 17
rect 1443 -17 1501 17
rect 1535 -17 1593 17
rect 1627 -17 1685 17
rect 1719 -17 1777 17
rect 1811 -17 1869 17
rect 1903 -17 1961 17
rect 1995 -17 2053 17
rect 2087 -17 2145 17
rect 2179 -17 2237 17
rect 2271 -17 2329 17
rect 2363 -17 2421 17
rect 2455 -17 2513 17
rect 2547 -17 2605 17
rect 2639 -17 2697 17
rect 2731 -17 2789 17
rect 2823 -17 2881 17
rect 2915 -17 2973 17
rect 3007 -17 3065 17
rect 3099 -17 3157 17
rect 3191 -17 3249 17
rect 3283 -17 3312 17
<< viali >>
rect 29 527 63 561
rect 121 527 155 561
rect 213 527 247 561
rect 305 527 339 561
rect 397 527 431 561
rect 489 527 523 561
rect 581 527 615 561
rect 673 527 707 561
rect 765 527 799 561
rect 857 527 891 561
rect 949 527 983 561
rect 1041 527 1075 561
rect 1133 527 1167 561
rect 1225 527 1259 561
rect 1317 527 1351 561
rect 1409 527 1443 561
rect 1501 527 1535 561
rect 1593 527 1627 561
rect 1685 527 1719 561
rect 1777 527 1811 561
rect 1869 527 1903 561
rect 1961 527 1995 561
rect 2053 527 2087 561
rect 2145 527 2179 561
rect 2237 527 2271 561
rect 2329 527 2363 561
rect 2421 527 2455 561
rect 2513 527 2547 561
rect 2605 527 2639 561
rect 2697 527 2731 561
rect 2789 527 2823 561
rect 2881 527 2915 561
rect 2973 527 3007 561
rect 3065 527 3099 561
rect 3157 527 3191 561
rect 3249 527 3283 561
rect 29 -17 63 17
rect 121 -17 155 17
rect 213 -17 247 17
rect 305 -17 339 17
rect 397 -17 431 17
rect 489 -17 523 17
rect 581 -17 615 17
rect 673 -17 707 17
rect 765 -17 799 17
rect 857 -17 891 17
rect 949 -17 983 17
rect 1041 -17 1075 17
rect 1133 -17 1167 17
rect 1225 -17 1259 17
rect 1317 -17 1351 17
rect 1409 -17 1443 17
rect 1501 -17 1535 17
rect 1593 -17 1627 17
rect 1685 -17 1719 17
rect 1777 -17 1811 17
rect 1869 -17 1903 17
rect 1961 -17 1995 17
rect 2053 -17 2087 17
rect 2145 -17 2179 17
rect 2237 -17 2271 17
rect 2329 -17 2363 17
rect 2421 -17 2455 17
rect 2513 -17 2547 17
rect 2605 -17 2639 17
rect 2697 -17 2731 17
rect 2789 -17 2823 17
rect 2881 -17 2915 17
rect 2973 -17 3007 17
rect 3065 -17 3099 17
rect 3157 -17 3191 17
rect 3249 -17 3283 17
<< metal1 >>
rect 0 561 3312 592
rect 0 527 29 561
rect 63 527 121 561
rect 155 527 213 561
rect 247 527 305 561
rect 339 527 397 561
rect 431 527 489 561
rect 523 527 581 561
rect 615 527 673 561
rect 707 527 765 561
rect 799 527 857 561
rect 891 527 949 561
rect 983 527 1041 561
rect 1075 527 1133 561
rect 1167 527 1225 561
rect 1259 527 1317 561
rect 1351 527 1409 561
rect 1443 527 1501 561
rect 1535 527 1593 561
rect 1627 527 1685 561
rect 1719 527 1777 561
rect 1811 527 1869 561
rect 1903 527 1961 561
rect 1995 527 2053 561
rect 2087 527 2145 561
rect 2179 527 2237 561
rect 2271 527 2329 561
rect 2363 527 2421 561
rect 2455 527 2513 561
rect 2547 527 2605 561
rect 2639 527 2697 561
rect 2731 527 2789 561
rect 2823 527 2881 561
rect 2915 527 2973 561
rect 3007 527 3065 561
rect 3099 527 3157 561
rect 3191 527 3249 561
rect 3283 527 3312 561
rect 0 496 3312 527
rect 0 17 3312 48
rect 0 -17 29 17
rect 63 -17 121 17
rect 155 -17 213 17
rect 247 -17 305 17
rect 339 -17 397 17
rect 431 -17 489 17
rect 523 -17 581 17
rect 615 -17 673 17
rect 707 -17 765 17
rect 799 -17 857 17
rect 891 -17 949 17
rect 983 -17 1041 17
rect 1075 -17 1133 17
rect 1167 -17 1225 17
rect 1259 -17 1317 17
rect 1351 -17 1409 17
rect 1443 -17 1501 17
rect 1535 -17 1593 17
rect 1627 -17 1685 17
rect 1719 -17 1777 17
rect 1811 -17 1869 17
rect 1903 -17 1961 17
rect 1995 -17 2053 17
rect 2087 -17 2145 17
rect 2179 -17 2237 17
rect 2271 -17 2329 17
rect 2363 -17 2421 17
rect 2455 -17 2513 17
rect 2547 -17 2605 17
rect 2639 -17 2697 17
rect 2731 -17 2789 17
rect 2823 -17 2881 17
rect 2915 -17 2973 17
rect 3007 -17 3065 17
rect 3099 -17 3157 17
rect 3191 -17 3249 17
rect 3283 -17 3312 17
rect 0 -48 3312 -17
<< labels >>
flabel locali s 59 221 93 255 0 FreeSans 400 0 0 0 A
port 1 nsew signal input
flabel locali s 3194 289 3228 323 0 FreeSans 400 0 0 0 X
port 7 nsew signal output
flabel locali s 2499 221 2533 255 0 FreeSans 400 0 0 0 SLEEP
port 2 nsew signal input
flabel nwell s 29 527 63 561 0 FreeSans 200 0 0 0 VPB
port 5 nsew power bidirectional
flabel pwell s 29 -17 63 17 0 FreeSans 200 0 0 0 VNB
port 4 nsew ground bidirectional
flabel metal1 s 29 -17 63 17 0 FreeSans 200 0 0 0 VGND
port 3 nsew ground bidirectional abutment
flabel metal1 s 29 527 63 561 0 FreeSans 200 0 0 0 VPWR
port 6 nsew power bidirectional abutment
rlabel comment s 0 0 0 0 4 lpflow_isobufsrc_16
rlabel metal1 s 0 -48 3312 48 1 VGND
port 3 nsew ground bidirectional abutment
rlabel metal1 s 0 496 3312 592 1 VPWR
port 6 nsew power bidirectional abutment
<< properties >>
string FIXED_BBOX 0 0 3312 544
string GDS_END 2422542
string GDS_FILE $PDKPATH/libs.ref/sky130_fd_sc_hd/gds/sky130_fd_sc_hd.gds
string GDS_START 2398934
string LEFclass CORE
string LEFsite unithd
string LEFsymmetry X Y R90
string path 0.000 0.000 82.800 0.000 
<< end >>
